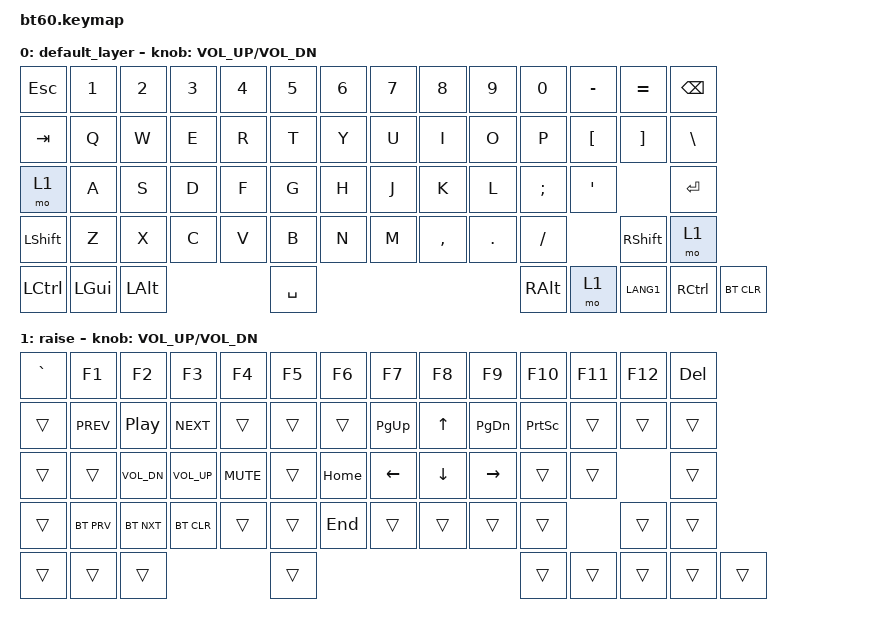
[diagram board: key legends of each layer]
#include <behaviors.dtsi>
#include <dt-bindings/zmk/keys.h>
#include <dt-bindings/zmk/bt.h>

/ {
	keymap {
		compatible = "zmk,keymap";

		default_layer {
				// ------------------------------------------------------------------------------------------
				// | ESC |  1  |  2  |  3  |  4  |  5  |  6  |  7  |  8  |  9  |  0  |  -  |  =  |   BKSP   |
				// | TAB  |  Q  |  W  |  E  |  R  |  T  |  Y  |  U  |  I  |  O  |  P  |  [  |  ]  |   \     |
				// |   1   |  A  |  S  |  D  |  F  |  G  |  H  |  J  |  K  |  L  |  ;  |  '  |     ENTER    |
				// |  SHIFT  |  Z  |  X  |  C  |  V  |  B  |  N  |  M  |  ,  |  .  |  /  |   SHIFT   |  1   |
				// |  CTL  |  WIN  |  ALT  |             SPACE              |  ALT  |   1   |  WIN  |  CTRL |
				// ------------------------------------------------------------------------------------------
			bindings = <
				&kp ESC    &kp N1       &kp N2       &kp N3       &kp N4     &kp N5   &kp N6   &kp N7    &kp N8    &kp N9    &kp N0    &kp MINUS  &kp EQUAL  &kp BSPC
				&kp TAB    &kp Q        &kp W        &kp E        &kp R      &kp T    &kp Y    &kp U     &kp I     &kp O     &kp P     &kp LBKT   &kp RBKT   &kp BSLH
				&mo 1      &kp A        &kp S        &kp D        &kp F      &kp G    &kp H    &kp J     &kp K     &kp L     &kp SEMI  &kp SQT               &kp RET
				&kp LSHFT  &kp Z        &kp X        &kp C        &kp V      &kp B    &kp N    &kp M     &kp COMMA &kp DOT   &kp FSLH             &kp RSHFT  &mo 1
				&kp LCTRL  &kp LGUI     &kp LALT                             &kp SPACE                                       &kp RALT  &mo 1      &kp LANG1  &kp RCTRL &bt BT_CLR
			>;
			sensor-bindings = <&inc_dec_kp C_VOL_UP C_VOL_DN>;
		};
		raise {
			bindings = <
				&kp GRAVE  &kp F1       &kp F2       &kp F3       &kp F4     &kp F5   &kp F6   &kp F7    &kp F8    &kp F9    &kp F10   &kp F11    &kp F12    &kp DEL
				&trans     &kp C_PREV   &kp C_PP     &kp C_NEXT   &trans     &trans   &trans   &kp PG_UP &kp UP    &kp PG_DN &kp PSCRN &trans     &trans     &trans
				&trans     &trans 	&kp C_VOL_DN &kp C_VOL_UP &kp C_MUTE &trans   &kp HOME &kp LEFT  &kp DOWN  &kp RIGHT &trans    &trans                &trans
				&trans     &bt BT_PRV   &bt BT_NXT   &bt BT_CLR   &trans     &trans   &kp END  &trans    &trans    &trans    &trans               &trans     &trans
				&trans     &trans       &trans                               &trans                                          &trans    &trans     &trans     &trans   &trans 
			>;
			sensor-bindings = <&inc_dec_kp C_VOL_UP C_VOL_DN>;
		};
	};
};
